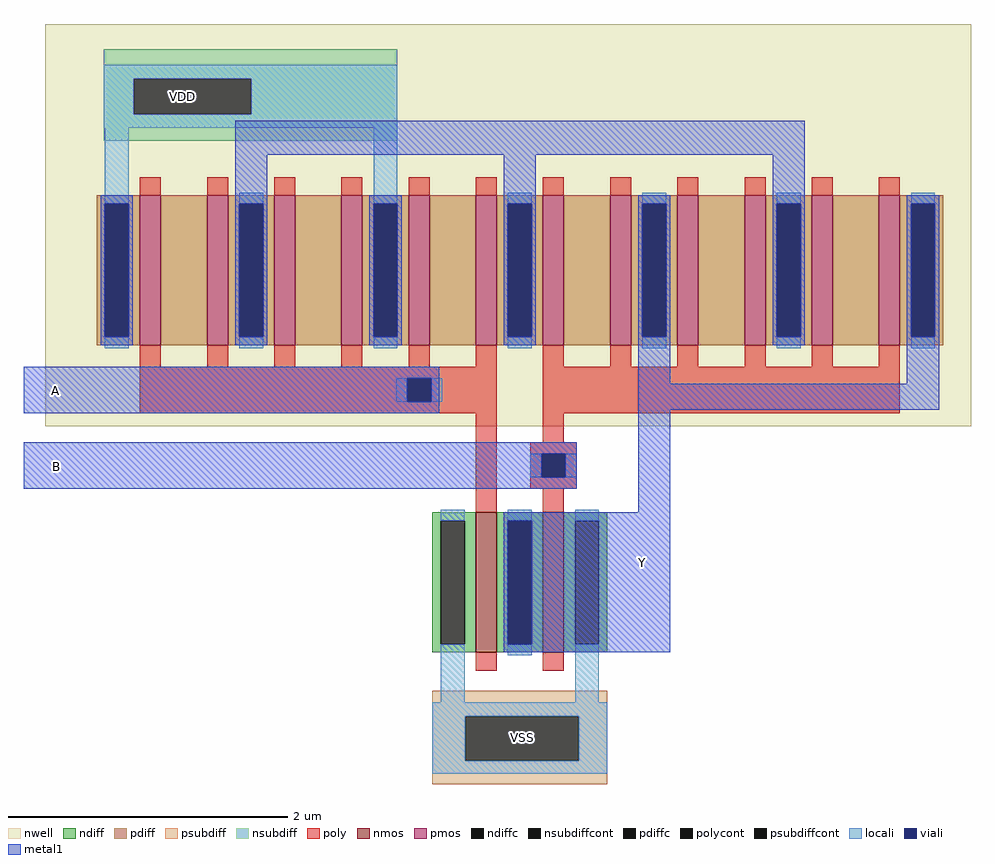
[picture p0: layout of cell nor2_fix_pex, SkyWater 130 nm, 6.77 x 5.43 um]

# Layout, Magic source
magic
tech sky130B
magscale 1 2
<< nwell >>
rect -37 -16 1286 559
<< nmos >>
rect 578 -339 608 -139
rect 674 -339 704 -139
<< pmos >>
rect 98 100 128 314
rect 194 100 224 314
rect 290 100 320 314
rect 386 100 416 314
rect 482 100 512 314
rect 578 100 608 314
rect 674 100 704 314
rect 770 100 800 314
rect 866 100 896 314
rect 962 100 992 314
rect 1058 100 1088 314
rect 1154 100 1184 314
<< ndiff >>
rect 516 -151 578 -139
rect 516 -327 528 -151
rect 562 -327 578 -151
rect 516 -339 578 -327
rect 608 -151 674 -139
rect 608 -327 624 -151
rect 658 -327 674 -151
rect 608 -339 674 -327
rect 704 -151 766 -139
rect 704 -327 720 -151
rect 754 -327 766 -151
rect 704 -339 766 -327
<< pdiff >>
rect 36 302 98 314
rect 36 112 48 302
rect 82 112 98 302
rect 36 100 98 112
rect 128 100 194 314
rect 224 302 290 314
rect 224 112 240 302
rect 274 112 290 302
rect 224 100 290 112
rect 320 100 386 314
rect 416 302 482 314
rect 416 112 432 302
rect 466 112 482 302
rect 416 100 482 112
rect 512 100 578 314
rect 608 302 674 314
rect 608 112 624 302
rect 658 112 674 302
rect 608 100 674 112
rect 704 100 770 314
rect 800 302 866 314
rect 800 112 816 302
rect 850 112 866 302
rect 800 100 866 112
rect 896 100 962 314
rect 992 302 1058 314
rect 992 112 1008 302
rect 1042 112 1058 302
rect 992 100 1058 112
rect 1088 100 1154 314
rect 1184 302 1246 314
rect 1184 112 1200 302
rect 1234 112 1246 302
rect 1184 100 1246 112
<< ndiffc >>
rect 528 -327 562 -151
rect 624 -327 658 -151
rect 720 -327 754 -151
<< pdiffc >>
rect 48 112 82 302
rect 240 112 274 302
rect 432 112 466 302
rect 624 112 658 302
rect 816 112 850 302
rect 1008 112 1042 302
rect 1200 112 1234 302
<< psubdiff >>
rect 516 -430 766 -394
rect 516 -494 563 -430
rect 725 -494 766 -430
rect 516 -527 766 -494
<< nsubdiff >>
rect 46 481 466 523
rect 46 430 89 481
rect 257 430 466 481
rect 46 392 466 430
<< psubdiffcont >>
rect 563 -494 725 -430
<< nsubdiffcont >>
rect 89 430 257 481
<< poly >>
rect 98 314 128 340
rect 194 314 224 340
rect 290 314 320 340
rect 386 314 416 340
rect 482 314 512 340
rect 578 314 608 340
rect 674 314 704 340
rect 770 314 800 340
rect 866 314 896 340
rect 962 314 992 340
rect 1058 314 1088 340
rect 1154 314 1184 340
rect 98 69 128 100
rect 194 69 224 100
rect 290 69 320 100
rect 386 69 416 100
rect 482 69 512 100
rect 578 69 608 100
rect 98 53 608 69
rect 98 19 480 53
rect 514 19 608 53
rect 98 3 608 19
rect 578 -139 608 3
rect 674 69 704 100
rect 770 69 800 100
rect 866 69 896 100
rect 962 69 992 100
rect 1058 69 1088 100
rect 1154 69 1184 100
rect 674 3 1184 69
rect 674 -39 704 3
rect 656 -55 722 -39
rect 656 -89 672 -55
rect 706 -89 722 -55
rect 656 -105 722 -89
rect 674 -139 704 -105
rect 578 -365 608 -339
rect 674 -365 704 -339
<< polycont >>
rect 480 19 514 53
rect 672 -89 706 -55
<< locali >>
rect 46 481 466 501
rect 46 430 89 481
rect 257 430 466 481
rect 46 411 466 430
rect 48 302 82 411
rect 48 96 82 112
rect 240 302 274 318
rect 240 96 274 112
rect 432 302 466 411
rect 432 96 466 112
rect 624 302 658 318
rect 624 96 658 112
rect 816 302 850 318
rect 816 96 850 112
rect 1008 302 1042 318
rect 1008 96 1042 112
rect 1200 302 1234 318
rect 1200 96 1234 112
rect 464 19 480 53
rect 514 19 530 53
rect 656 -89 672 -55
rect 706 -89 722 -55
rect 528 -151 562 -135
rect 528 -410 562 -327
rect 624 -151 658 -135
rect 624 -343 658 -327
rect 720 -151 754 -135
rect 720 -410 754 -327
rect 516 -430 766 -410
rect 516 -494 563 -430
rect 725 -494 766 -430
rect 516 -512 766 -494
<< viali >>
rect 48 112 82 302
rect 240 112 274 302
rect 432 112 466 302
rect 624 112 658 302
rect 816 112 850 302
rect 1008 112 1042 302
rect 1200 112 1234 302
rect 480 19 514 53
rect 672 -89 706 -55
rect 624 -327 658 -151
<< metal1 >>
rect 234 372 1048 421
rect 42 302 88 314
rect 42 112 48 302
rect 82 112 88 302
rect 42 100 88 112
rect 234 302 280 372
rect 234 112 240 302
rect 274 112 280 302
rect 234 100 280 112
rect 426 302 472 314
rect 426 112 432 302
rect 466 112 472 302
rect 426 100 472 112
rect 618 302 664 372
rect 618 112 624 302
rect 658 112 664 302
rect 618 100 664 112
rect 810 302 856 314
rect 810 112 816 302
rect 850 112 856 302
rect -68 53 526 69
rect -68 19 480 53
rect 514 19 526 53
rect -68 3 526 19
rect 810 45 856 112
rect 1002 302 1048 372
rect 1002 112 1008 302
rect 1042 112 1048 302
rect 1002 100 1048 112
rect 1194 302 1240 314
rect 1194 112 1200 302
rect 1234 112 1240 302
rect 1194 45 1240 112
rect 810 8 1240 45
rect -68 -55 722 -39
rect -68 -89 672 -55
rect 706 -89 722 -55
rect -68 -105 722 -89
rect 810 -139 856 8
rect 618 -151 856 -139
rect 618 -327 624 -151
rect 658 -327 856 -151
rect 618 -339 856 -327
<< labels >>
flabel nwell 120 430 197 482 1 FreeSerif 320 0 0 0 VDD
port 1 n
flabel psubdiffcont 606 -487 683 -435 1 FreeSerif 320 0 0 0 VSS
port 2 n
flabel metal1 777 -236 854 -184 1 FreeSerif 320 0 0 0 Y
port 3 n
flabel metal1 -61 10 16 62 1 FreeSerif 320 0 0 0 A
port 4 n
flabel metal1 -60 -99 17 -47 1 FreeSerif 320 0 0 0 B
port 5 n
<< end >>
